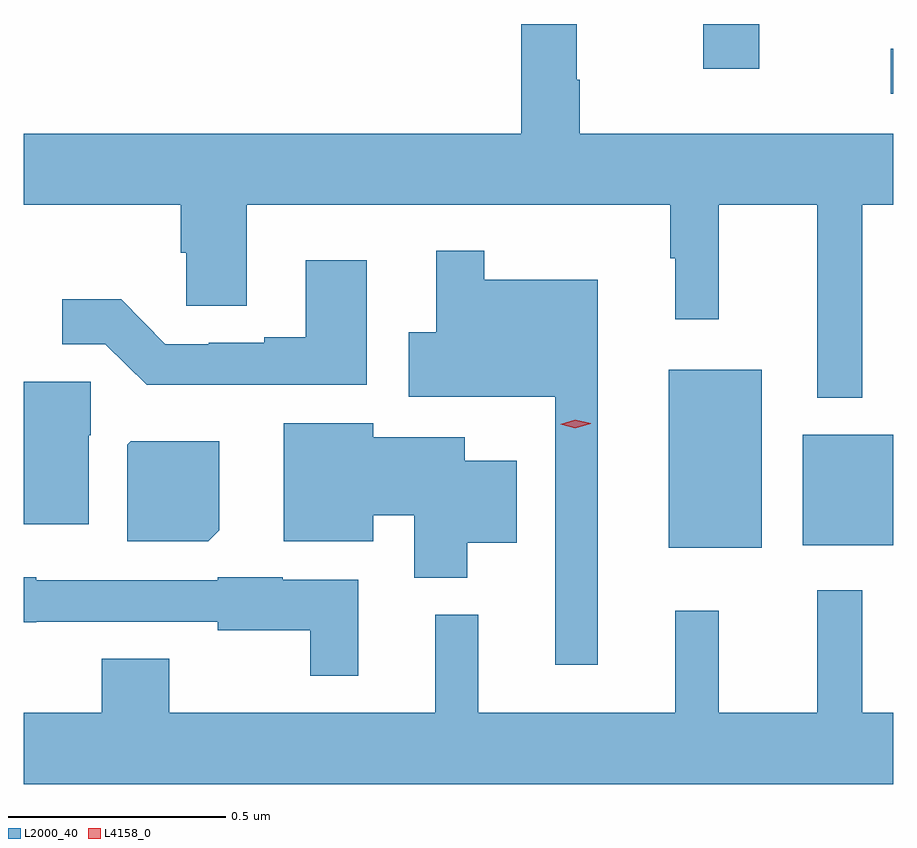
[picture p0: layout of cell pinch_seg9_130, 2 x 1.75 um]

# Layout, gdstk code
import gdstk
lib = gdstk.Library(unit=1e-6, precision=1e-09)
def R(c, l, rs):  # rectangles x0, y0, x1, y1
    for r in rs: c.add(gdstk.rectangle(r[:2], r[2:], *l))
def P(c, l, *ps):  # polygons
    for p in ps: c.add(gdstk.Polygon(p, *l))
L2000_40 = (2000, 40)
L4158_0 = (4158, 0)

pinch_seg9_130 = lib.new_cell('pinch_seg9_130')
R(pinch_seg9_130, L2000_40, [(811.073,1246.247,811.288,1246.657), (811.382,1246.253,811.59,1246.507), (811.584,1247.292,811.59,1247.395), (811.153,1247.349,811.282,1247.452)])
P(pinch_seg9_130, L2000_40, [(811.519,1247.036),(811.59,1247.036),(811.59,1247.2),(810.869,1247.2),(810.869,1247.324),(810.862,1247.324),(810.862,1247.452),(810.734,1247.452),(810.734,1247.2),(809.59,1247.2),(809.59,1247.036),(809.951,1247.036),(809.951,1246.926),(809.964,1246.926),(809.964,1246.804),(810.103,1246.804),(810.103,1247.036),(811.077,1247.036),(811.077,1246.913),(811.088,1246.913),(811.088,1246.773),(811.188,1246.773),(811.188,1247.036),(811.415,1247.036),(811.415,1246.592),(811.519,1246.592)],
  [(810.91,1246.864),(810.649,1246.864),(810.649,1246.93),(810.539,1246.93),(810.539,1246.743),(810.476,1246.743),(810.476,1246.595),(810.813,1246.595),(810.813,1245.978),(810.91,1245.978)],
  [(810.379,1246.909),(810.239,1246.909),(810.239,1246.732),(810.143,1246.732),(810.143,1246.719),(810.016,1246.719),(810.016,1246.716),(809.916,1246.716),(809.814,1246.819),(809.679,1246.819),(809.679,1246.716),(809.778,1246.716),(809.873,1246.622),(810.379,1246.622)],
  [(809.74,1246.506),(809.744,1246.506),(809.744,1246.629),(809.59,1246.629),(809.59,1246.302),(809.74,1246.302)],
  [(810.61,1246.259),(810.724,1246.259),(810.724,1246.447),(810.604,1246.447),(810.604,1246.501),(810.394,1246.501),(810.394,1246.534),(810.188,1246.534),(810.188,1246.262),(810.394,1246.262),(810.394,1246.322),(810.488,1246.322),(810.488,1246.178),(810.61,1246.178)],
  [(810.04,1246.288),(810.04,1246.492),(809.836,1246.492),(809.828,1246.484),(809.828,1246.262),(810.014,1246.262)],
  [(810.359,1246.174),(810.186,1246.174),(810.186,1246.18),(810.036,1246.18),(810.036,1246.173),(809.619,1246.173),(809.619,1246.18),(809.59,1246.18),(809.59,1246.076),(809.619,1246.076),(809.619,1246.077),(810.036,1246.077),(810.036,1246.058),(810.249,1246.058),(810.249,1245.953),(810.359,1245.953)],
  [(811.59,1245.868),(811.519,1245.868),(811.519,1246.15),(811.415,1246.15),(811.415,1245.868),(811.188,1245.868),(811.188,1246.102),(811.088,1246.102),(811.088,1245.868),(810.635,1245.868),(810.635,1246.093),(810.536,1246.093),(810.536,1245.868),(809.925,1245.868),(809.925,1245.992),(809.77,1245.992),(809.77,1245.868),(809.59,1245.868),(809.59,1245.704),(811.59,1245.704)])
P(pinch_seg9_130, L4158_0, [(810.859,1246.522),(810.824,1246.531),(810.823,1246.531),(810.824,1246.531),(810.858,1246.542),(810.894,1246.534),(810.894,1246.533),(810.894,1246.533)])

lib.write_gds('pinch_seg9_130.gds')
